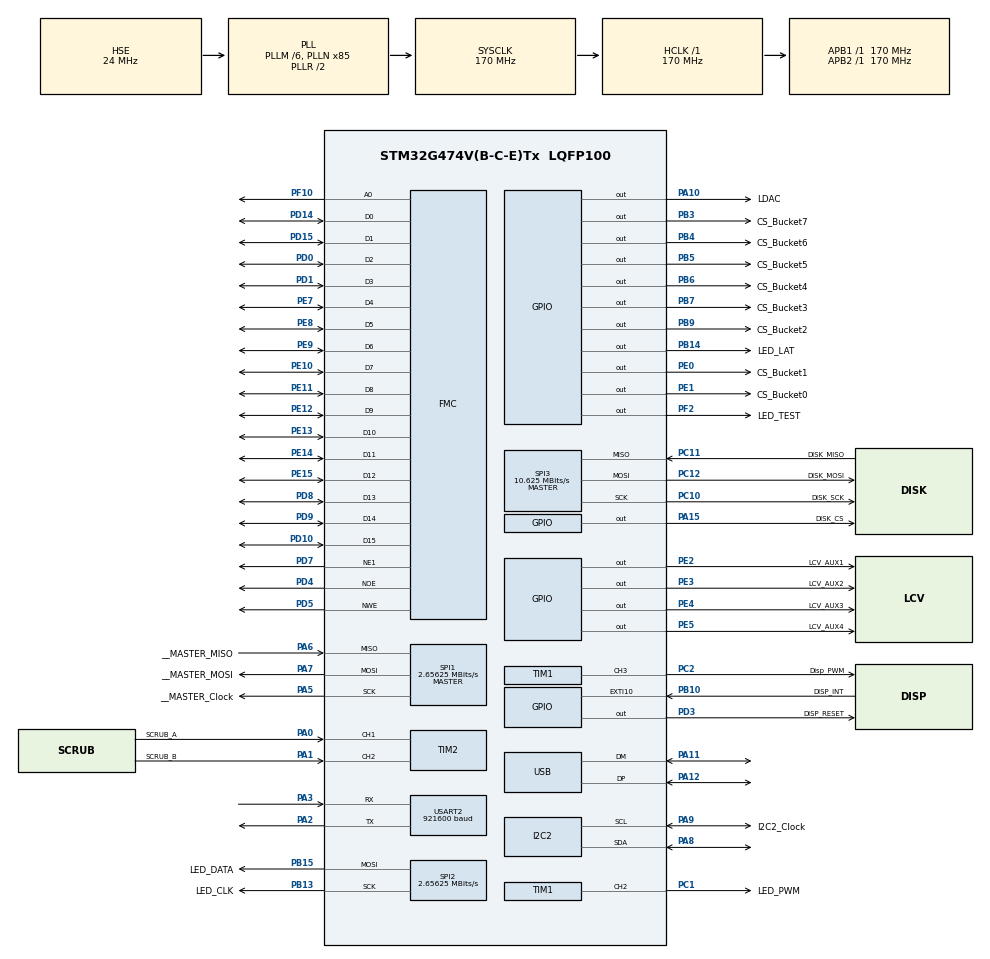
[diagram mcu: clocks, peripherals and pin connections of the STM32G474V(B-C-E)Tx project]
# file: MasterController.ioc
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Dma.Request0=SPI2_TX
Dma.SPI2_TX.0.Direction=DMA_MEMORY_TO_PERIPH
Dma.SPI2_TX.0.EventEnable=DISABLE
Dma.SPI2_TX.0.Instance=DMA1_Channel1
Dma.SPI2_TX.0.MemDataAlignment=DMA_MDATAALIGN_BYTE
Dma.SPI2_TX.0.MemInc=DMA_MINC_ENABLE
Dma.SPI2_TX.0.Mode=DMA_NORMAL
Dma.SPI2_TX.0.PeriphDataAlignment=DMA_PDATAALIGN_BYTE
Dma.SPI2_TX.0.PeriphInc=DMA_PINC_DISABLE
Dma.SPI2_TX.0.Polarity=HAL_DMAMUX_REQ_GEN_RISING
Dma.SPI2_TX.0.Priority=DMA_PRIORITY_LOW
Dma.SPI2_TX.0.RequestNumber=1
Dma.SPI2_TX.0.SignalID=NONE
Dma.SPI2_TX.0.SyncEnable=DISABLE
Dma.SPI2_TX.0.SyncPolarity=HAL_DMAMUX_SYNC_NO_EVENT
Dma.SPI2_TX.0.SyncRequestNumber=1
Dma.SPI2_TX.0.SyncSignalID=NONE
FATFS._FS_LOCK=8
FATFS._MAX_LFN=64
FATFS._USE_LFN=2
FREERTOS.Tasks01=defaultTask,24,128,StartDefaultTask,Default,NULL,Dynamic,NULL,NULL
FREERTOS.configTOTAL_HEAP_SIZE=8192
I2C2.Timing=0x40B285C2
Mcu.Family=STM32G4
Mcu.Name=STM32G474V(B-C-E)Tx
Mcu.Package=LQFP100
NVIC.DMA1_Channel1_IRQn=true\:5\:0\:false\:false\:true\:true\:false\:true\:true
NVIC.PriorityGroup=NVIC_PRIORITYGROUP_4
NVIC.SPI2_IRQn=true\:5\:0\:false\:false\:true\:true\:true\:true\:true
NVIC.TIM7_DAC_IRQn=true\:15\:0\:false\:false\:true\:false\:false\:true\:true
NVIC.TimeBase=TIM7_DAC_IRQn
NVIC.TimeBaseIP=TIM7
PA0.GPIO_Label=SCRUB_A
PA0.Signal=S_TIM2_CH1
PA1.GPIO_Label=SCRUB_B
PA1.Signal=S_TIM2_CH2
PA10.GPIO_Label=LDAC
PA10.Signal=GPIO_Output
PA11.Mode=Device
PA11.Signal=USB_DM
PA12.Mode=Device
PA12.Signal=USB_DP
PA13.GPIO_Label=SWD_SWDIO
PA13.Mode=Serial_Wire
PA13.Signal=SYS_JTMS-SWDIO
PA14.GPIO_Label=SWD_SWCLK
PA14.Mode=Serial_Wire
PA14.Signal=SYS_JTCK-SWCLK
PA15.GPIO_Label=DISK_CS
PA15.PinState=GPIO_PIN_SET
PA15.Signal=GPIO_Output
PA2.Mode=Asynchronous
PA2.Signal=USART2_TX
PA3.Mode=Asynchronous
PA3.Signal=USART2_RX
PA5.GPIO_Label=__MASTER_Clock
PA5.Mode=Full_Duplex_Master
PA5.Signal=SPI1_SCK
PA6.GPIO_Label=__MASTER_MISO
PA6.Mode=Full_Duplex_Master
PA6.Signal=SPI1_MISO
PA7.GPIO_Label=__MASTER_MOSI
PA7.Mode=Full_Duplex_Master
PA7.Signal=SPI1_MOSI
PA8.Mode=I2C
PA8.Signal=I2C2_SDA
PA9.GPIO_Label=I2C2_Clock
PA9.Mode=I2C
PA9.Signal=I2C2_SCL
PB10.GPIO_Label=DISP_INT
PB10.Signal=GPXTI10
PB13.GPIO_Label=LED_CLK
PB13.Mode=TX_Only_Simplex_Unidirect_Master
PB13.Signal=SPI2_SCK
PB14.GPIO_Label=LED_LAT
PB14.Signal=GPIO_Output
PB15.GPIO_Label=LED_DATA
PB15.Mode=TX_Only_Simplex_Unidirect_Master
PB15.Signal=SPI2_MOSI
PB3.GPIO_Label=CS_Bucket7
PB3.PinState=GPIO_PIN_SET
PB3.Signal=GPIO_Output
PB4.GPIO_Label=CS_Bucket6
PB4.PinState=GPIO_PIN_SET
PB4.Signal=GPIO_Output
PB5.GPIO_Label=CS_Bucket5
PB5.PinState=GPIO_PIN_SET
PB5.Signal=GPIO_Output
PB6.GPIO_Label=CS_Bucket4
PB6.PinState=GPIO_PIN_SET
PB6.Signal=GPIO_Output
PB7.GPIO_Label=CS_Bucket3
PB7.PinState=GPIO_PIN_SET
PB7.Signal=GPIO_Output
PB9.GPIO_Label=CS_Bucket2
PB9.PinState=GPIO_PIN_SET
PB9.Signal=GPIO_Output
PC1.GPIO_Label=LED_PWM
PC1.Signal=S_TIM1_CH2
PC10.GPIO_Label=DISK_SCK
PC10.Mode=Full_Duplex_Master
PC10.Signal=SPI3_SCK
PC11.GPIO_Label=DISK_MISO
PC11.Mode=Full_Duplex_Master
PC11.Signal=SPI3_MISO
PC12.GPIO_Label=DISK_MOSI
PC12.Mode=Full_Duplex_Master
PC12.Signal=SPI3_MOSI
PC2.GPIO_Label=Disp_PWM
PC2.Signal=S_TIM1_CH3
PD0.Mode=16b-d1
PD0.Signal=FMC_D2
PD1.Mode=16b-d1
PD1.Signal=FMC_D3
PD10.Mode=16b-d1
PD10.Signal=FMC_D15
PD14.Mode=16b-d1
PD14.Signal=FMC_D0
PD15.Mode=16b-d1
PD15.Signal=FMC_D1
PD3.GPIO_Label=DISP_RESET
PD3.GPIO_ModeDefaultOutputPP=GPIO_MODE_OUTPUT_OD
PD3.GPIO_PuPd=GPIO_NOPULL
PD3.Signal=GPIO_Output
PD4.Mode=Lcd1
PD4.Signal=FMC_NOE
PD5.Mode=Lcd1
PD5.Signal=FMC_NWE
PD6.Signal=FMC_NWAIT
PD7.Mode=NorPsramChipSelect1_1
PD7.Signal=FMC_NE1
PD8.Mode=16b-d1
PD8.Signal=FMC_D13
PD9.Mode=16b-d1
PD9.Signal=FMC_D14
PE0.GPIO_Label=CS_Bucket1
PE0.PinState=GPIO_PIN_SET
PE0.Signal=GPIO_Output
PE1.GPIO_Label=CS_Bucket0
PE1.PinState=GPIO_PIN_SET
PE1.Signal=GPIO_Output
PE10.Mode=16b-d1
PE10.Signal=FMC_D7
PE11.Mode=16b-d1
PE11.Signal=FMC_D8
PE12.Mode=16b-d1
PE12.Signal=FMC_D9
PE13.Mode=16b-d1
PE13.Signal=FMC_D10
PE14.Mode=16b-d1
PE14.Signal=FMC_D11
PE15.Mode=16b-d1
PE15.Signal=FMC_D12
PE2.GPIO_Label=LCV_AUX1
PE2.Signal=GPIO_Output
PE3.GPIO_Label=LCV_AUX2
PE3.Signal=GPIO_Output
PE4.GPIO_Label=LCV_AUX3
PE4.Signal=GPIO_Output
PE5.GPIO_Label=LCV_AUX4
PE5.Signal=GPIO_Output
PE7.Mode=16b-d1
PE7.Signal=FMC_D4
PE8.Mode=16b-d1
PE8.Signal=FMC_D5
PE9.Mode=16b-d1
PE9.Signal=FMC_D6
PF0-OSC_IN.GPIO_Label=_OSC_IN
PF0-OSC_IN.Mode=HSE-External-Oscillator
PF0-OSC_IN.Signal=RCC_OSC_IN
PF1-OSC_OUT.GPIO_Label=_OSC_OUT
PF1-OSC_OUT.Mode=HSE-External-Oscillator
PF1-OSC_OUT.Signal=RCC_OSC_OUT
PF10.Mode=A0_1
PF10.Signal=FMC_A0
PF2.GPIO_Label=LED_TEST
PF2.Signal=GPIO_Output
ProjectManager.HeapSize=0x200
ProjectManager.StackSize=0x400
ProjectManager.TargetToolchain=CMake
RCC.ADC12Freq_Value=170000000
RCC.ADC345Freq_Value=170000000
RCC.AHBFreq_Value=170000000
RCC.APB1Freq_Value=170000000
RCC.APB1TimFreq_Value=170000000
RCC.APB2Freq_Value=170000000
RCC.APB2TimFreq_Value=170000000
RCC.CK48CLockSelection=RCC_USBCLKSOURCE_HSI48
RCC.CortexFreq_Value=170000000
RCC.EXTERNAL_CLOCK_VALUE=12288000
RCC.HCLKFreq_Value=170000000
RCC.HSE_VALUE=24000000
RCC.HSI48_VALUE=48000000
RCC.HSI_VALUE=16000000
RCC.LSE_VALUE=32768
RCC.PLLM=RCC_PLLM_DIV6
RCC.PLLN=85
RCC.PLLSourceVirtual=RCC_PLLSOURCE_HSE
RCC.SYSCLKFreq_VALUE=170000000
RCC.SYSCLKSource=RCC_SYSCLKSOURCE_PLLCLK
RCC.USBFreq_Value=48000000
RCC.VCOOutputFreq_Value=340000000
SH.S_TIM1_CH2.0=TIM1_CH2,PWM Generation2 CH2
SH.S_TIM1_CH3.0=TIM1_CH3,PWM Generation3 CH3
SH.S_TIM2_CH1.0=TIM2_CH1,Encoder_Interface
SH.S_TIM2_CH2.0=TIM2_CH2,Encoder_Interface
SPI1.BaudRatePrescaler=SPI_BAUDRATEPRESCALER_64
SPI1.CalculateBaudRate=2.65625 MBits/s
SPI1.DataSize=SPI_DATASIZE_8BIT
SPI1.Direction=SPI_DIRECTION_2LINES
SPI1.Mode=SPI_MODE_MASTER
SPI1.NSSPMode=SPI_NSS_PULSE_DISABLE
SPI1.VirtualType=VM_MASTER
SPI2.BaudRatePrescaler=SPI_BAUDRATEPRESCALER_64
SPI2.CLKPhase=SPI_PHASE_2EDGE
SPI2.CalculateBaudRate=2.65625 MBits/s
SPI2.DataSize=SPI_DATASIZE_8BIT
SPI2.Direction=SPI_DIRECTION_2LINES
SPI2.Mode=SPI_MODE_MASTER
SPI2.VirtualType=VM_MASTER
SPI3.BaudRatePrescaler=SPI_BAUDRATEPRESCALER_16
SPI3.CalculateBaudRate=10.625 MBits/s
SPI3.Direction=SPI_DIRECTION_2LINES
SPI3.Mode=SPI_MODE_MASTER
SPI3.VirtualType=VM_MASTER
TIM1.Channel-PWM\ Generation2\ CH2=TIM_CHANNEL_2
TIM1.Channel-PWM\ Generation3\ CH3=TIM_CHANNEL_3
TIM1.PeriodNoDither=7083
USART2.BaudRate=921600
USART2.VirtualMode-Asynchronous=VM_ASYNC
VP_FATFS_VS_Generic.Mode=User_defined
VP_FREERTOS_VS_CMSIS_V2.Mode=CMSIS_V2
VP_RCC_VS_USB.Mode=USB_FS
VP_SYS_VS_DBSignals.Mode=DisableDeadBatterySignals
VP_SYS_VS_tim7.Mode=TIM7
board=custom

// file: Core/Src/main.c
/* USER CODE BEGIN Header */
/**
  ******************************************************************************
  * @file           : main.c
  * @brief          : Main program body
  ******************************************************************************
  * @attention
  *
  * Copyright (c) 2026 STMicroelectronics.
  * All rights reserved.
  *
  * This software is licensed under terms that can be found in the LICENSE file
  * in the root directory of this software component.
  * If no LICENSE file comes with this software, it is provided AS-IS.
  *
  ******************************************************************************
  */
/* USER CODE END Header */
#include "main.h"
#include "cmsis_os.h"
#include "app_fatfs.h"

/* USER CODE BEGIN Includes */
#include "FreeRTOS_apps/usb_device_task.h"
#include "FreeRTOS_apps/bucket_link.h"
#include "display/lt7683_display.h"
#include "mix/mix_state.h"
#include "mix/automation.h"
#include "mix/mix_file.h"
#include "FreeRTOS_apps/i2c_scheduler.h"
#include "FreeRTOS_apps/led_handler.h"
#include "control_integration/control_interface.h"
#include "control_integration/control_outputs.h"
#include "hardware_drivers/i2c_driver.h"
#include "hardware_drivers/led_driver.h"
#include "hardware_drivers/mcp23017.h"
#include "hardware_drivers/mcp4728.h"
#include "CONFIG.h"
#include <stdio.h>
#include "hardware_drivers/bucket_spi.h"
#include "FreeRTOS_apps/remote_cmd_handler.h"
#include "FreeRTOS_apps/daw_control.h"
/* USER CODE END Includes */

I2C_HandleTypeDef hi2c2;

SPI_HandleTypeDef hspi1;
SPI_HandleTypeDef hspi2;
SPI_HandleTypeDef hspi3;
DMA_HandleTypeDef hdma_spi2_tx;

TIM_HandleTypeDef htim1;
TIM_HandleTypeDef htim2;

UART_HandleTypeDef huart2;

PCD_HandleTypeDef hpcd_USB_FS;

SRAM_HandleTypeDef hsram1;

/* Definitions for defaultTask */
osThreadId_t defaultTaskHandle;
const osThreadAttr_t defaultTask_attributes = {
  .name = "defaultTask",
  .priority = (osPriority_t) osPriorityNormal,
  .stack_size = 128 * 4
};

void SystemClock_Config(void);
static void MX_GPIO_Init(void);
static void MX_DMA_Init(void);
static void MX_I2C2_Init(void);
static void MX_SPI1_Init(void);
static void MX_SPI2_Init(void);
static void MX_SPI3_Init(void);
static void MX_TIM1_Init(void);
static void MX_USB_PCD_Init(void);
static void MX_FMC_Init(void);
static void MX_USART2_UART_Init(void);
static void MX_TIM2_Init(void);
void StartDefaultTask(void *argument);

int main(void)
{

  /* MCU Configuration--------------------------------------------------------*/

  /* Reset of all peripherals, Initializes the Flash interface and the Systick. */
  HAL_Init();

  /* Configure the system clock */
  SystemClock_Config();

  /* USER CODE BEGIN SysInit */
  // The USB clock (HSI48) has to be within 0.25% of 48 MHz. SystemClock_Config() sets the
  // CRS trim to 32, but on the G4 the trim is 7 bits with its middle at 64
  // (RCC_CRS_HSI48CALIBRATION_DEFAULT, about 67 kHz per step): 32 runs HSI48 about 2.1 MHz
  // (4.5%) slow, so USB can't receive a single packet, and the CRS never gets the
  // start-of-frame packets it would use to correct it. Start from the middle instead; the
  // CRS then fine-tunes it from the computer's start-of-frame packets once USB is running.
  // (Kept here because CubeMX regenerates SystemClock_Config with 32.)
  RCC_CRSInitTypeDef crs = {0};
  crs.Prescaler             = RCC_CRS_SYNC_DIV1;
  crs.Source                = RCC_CRS_SYNC_SOURCE_USB;
  crs.Polarity              = RCC_CRS_SYNC_POLARITY_RISING;
  crs.ReloadValue           = __HAL_RCC_CRS_RELOADVALUE_CALCULATE(48000000, 1000);
  crs.ErrorLimitValue       = RCC_CRS_ERRORLIMIT_DEFAULT;
  crs.HSI48CalibrationValue = RCC_CRS_HSI48CALIBRATION_DEFAULT;
  HAL_RCCEx_CRSConfig(&crs);
  /* USER CODE END SysInit */

  /* Initialize all configured peripherals */
  MX_GPIO_Init();
  MX_DMA_Init();
  MX_I2C2_Init();
  MX_SPI1_Init();
  MX_SPI2_Init();
  MX_SPI3_Init();
  MX_TIM1_Init();
  MX_USB_PCD_Init();
  if (MX_FATFS_Init() != APP_OK) {
    Error_Handler();
  }
  MX_FMC_Init();
  MX_USART2_UART_Init();
  MX_TIM2_Init();
  /* USER CODE BEGIN 2 */

  /*=============================== CONTROLS AND LEDS (as on the bucket) ================================*/
  if (DEVELOPER_MODE)
  {
    setvbuf(stdout, NULL, _IONBF, 0); // printf goes straight out on the log UART
    printf("\r\n\n*******************************************************\r\n");
    printf("Initializing Master Controller...\r\n    Build %s %s\r\n", __DATE__, __TIME__);
  }

  i2c_init(); // I2C2 to 400 kHz, timeouts
  if (DEVELOPER_MODE) i2c_probeall();

  led_init(); // PLEASE keep led_init before init_control_interface: the controls look up their LEDs
  led_brightness(LED_BRIGHTNESS_DEFAULT);

  mcp23017_init(CONTROLS_I2C_BUS, MCP23017_KNOBS_ADDR);
  mcp23017_init(CONTROLS_I2C_BUS, MCP23017_PANEL_ADDR);
  mcp4728_init_settings(CONTROLS_I2C_BUS, MCP4728_ADDR); // internal 2.048 V reference, gain 1

  control_outputs_init(); // LCV lines to their power-up state, LDAC low
  mix_state_init();       // every channel's controls at the bucket's start-up values, until told otherwise
  automation_init();      // no moves yet; AUTO REC off
  init_control_interface();

  if (DEVELOPER_MODE)
  {
    led_print_config();
    printf("\r\n*******************************************************\n");
  }
  /*=============================== END CONTROLS AND LEDS ================================*/

  /* USER CODE END 2 */

  /* Init scheduler */
  osKernelInitialize();

  /* Create the thread(s) */
  /* creation of defaultTask */
  defaultTaskHandle = osThreadNew(StartDefaultTask, NULL, &defaultTask_attributes);

  /* USER CODE BEGIN RTOS_THREADS */
  usb_device_start();
  bucket_spi_init();
  bucket_link_start();  // a window with every bucket every few ms: channel numbers, commands, their reports
  remote_cmd_init();
  daw_control_init();
  init_i2c_scheduler(); // the panel's knobs, buttons, DAC (after init_control_interface)
  init_led_handler();   // the panel's LEDs
  mix_file_start();     // the SD card: mixes, autosave, automation's moves
  display_start();      // the mixes screen (after led_init, which sets TIM1's period: CH3 is the backlight)
  /* USER CODE END RTOS_THREADS */

  /* Start scheduler */
  osKernelStart();

  /* We should never get here as control is now taken by the scheduler */

  /* Infinite loop */
  while (1)
  {

  }
}

void SystemClock_Config(void)
{
  RCC_OscInitTypeDef RCC_OscInitStruct = {0};
  RCC_ClkInitTypeDef RCC_ClkInitStruct = {0};
  RCC_CRSInitTypeDef pInit = {0};

  /** Configure the main internal regulator output voltage
  */
  HAL_PWREx_ControlVoltageScaling(PWR_REGULATOR_VOLTAGE_SCALE1_BOOST);

  /** Initializes the RCC Oscillators according to the specified parameters
  * in the RCC_OscInitTypeDef structure.
  */
  RCC_OscInitStruct.OscillatorType = RCC_OSCILLATORTYPE_HSI48|RCC_OSCILLATORTYPE_HSE;
  RCC_OscInitStruct.HSEState = RCC_HSE_ON;
  RCC_OscInitStruct.HSI48State = RCC_HSI48_ON;
  RCC_OscInitStruct.PLL.PLLState = RCC_PLL_ON;
  RCC_OscInitStruct.PLL.PLLSource = RCC_PLLSOURCE_HSE;
  RCC_OscInitStruct.PLL.PLLM = RCC_PLLM_DIV6;
  RCC_OscInitStruct.PLL.PLLN = 85;
  RCC_OscInitStruct.PLL.PLLP = RCC_PLLP_DIV2;
  RCC_OscInitStruct.PLL.PLLQ = RCC_PLLQ_DIV2;
  RCC_OscInitStruct.PLL.PLLR = RCC_PLLR_DIV2;
  if (HAL_RCC_OscConfig(&RCC_OscInitStruct) != HAL_OK)
  {
    Error_Handler();
  }

  /** Initializes the CPU, AHB and APB buses clocks
  */
  RCC_ClkInitStruct.ClockType = RCC_CLOCKTYPE_HCLK|RCC_CLOCKTYPE_SYSCLK
                              |RCC_CLOCKTYPE_PCLK1|RCC_CLOCKTYPE_PCLK2;
  RCC_ClkInitStruct.SYSCLKSource = RCC_SYSCLKSOURCE_PLLCLK;
  RCC_ClkInitStruct.AHBCLKDivider = RCC_SYSCLK_DIV1;
  RCC_ClkInitStruct.APB1CLKDivider = RCC_HCLK_DIV1;
  RCC_ClkInitStruct.APB2CLKDivider = RCC_HCLK_DIV1;

  if (HAL_RCC_ClockConfig(&RCC_ClkInitStruct, FLASH_LATENCY_4) != HAL_OK)
  {
    Error_Handler();
  }

  /** Enable the SYSCFG APB clock
  */
  __HAL_RCC_CRS_CLK_ENABLE();

  /** Configures CRS
  */
  pInit.Prescaler = RCC_CRS_SYNC_DIV1;
  pInit.Source = RCC_CRS_SYNC_SOURCE_USB;
  pInit.Polarity = RCC_CRS_SYNC_POLARITY_RISING;
  pInit.ReloadValue = __HAL_RCC_CRS_RELOADVALUE_CALCULATE(48000000,1000);
  pInit.ErrorLimitValue = 34;
  pInit.HSI48CalibrationValue = 32;

  HAL_RCCEx_CRSConfig(&pInit);
}

static void MX_I2C2_Init(void)
{

  hi2c2.Instance = I2C2;
  hi2c2.Init.Timing = 0x40B285C2;
  hi2c2.Init.OwnAddress1 = 0;
  hi2c2.Init.AddressingMode = I2C_ADDRESSINGMODE_7BIT;
  hi2c2.Init.DualAddressMode = I2C_DUALADDRESS_DISABLE;
  hi2c2.Init.OwnAddress2 = 0;
  hi2c2.Init.OwnAddress2Masks = I2C_OA2_NOMASK;
  hi2c2.Init.GeneralCallMode = I2C_GENERALCALL_DISABLE;
  hi2c2.Init.NoStretchMode = I2C_NOSTRETCH_DISABLE;
  if (HAL_I2C_Init(&hi2c2) != HAL_OK)
  {
    Error_Handler();
  }

  /** Configure Analogue filter
  */
  if (HAL_I2CEx_ConfigAnalogFilter(&hi2c2, I2C_ANALOGFILTER_ENABLE) != HAL_OK)
  {
    Error_Handler();
  }

  /** Configure Digital filter
  */
  if (HAL_I2CEx_ConfigDigitalFilter(&hi2c2, 0) != HAL_OK)
  {
    Error_Handler();
  }

}

static void MX_SPI1_Init(void)
{

  /* SPI1 parameter configuration*/
  hspi1.Instance = SPI1;
  hspi1.Init.Mode = SPI_MODE_MASTER;
  hspi1.Init.Direction = SPI_DIRECTION_2LINES;
  hspi1.Init.DataSize = SPI_DATASIZE_8BIT;
  hspi1.Init.CLKPolarity = SPI_POLARITY_LOW;
  hspi1.Init.CLKPhase = SPI_PHASE_1EDGE;
  hspi1.Init.NSS = SPI_NSS_SOFT;
  hspi1.Init.BaudRatePrescaler = SPI_BAUDRATEPRESCALER_64;
  hspi1.Init.FirstBit = SPI_FIRSTBIT_MSB;
  hspi1.Init.TIMode = SPI_TIMODE_DISABLE;
  hspi1.Init.CRCCalculation = SPI_CRCCALCULATION_DISABLE;
  hspi1.Init.CRCPolynomial = 7;
  hspi1.Init.CRCLength = SPI_CRC_LENGTH_DATASIZE;
  hspi1.Init.NSSPMode = SPI_NSS_PULSE_DISABLE;
  if (HAL_SPI_Init(&hspi1) != HAL_OK)
  {
    Error_Handler();
  }

}

static void MX_SPI2_Init(void)
{

  /* SPI2 parameter configuration*/
  hspi2.Instance = SPI2;
  hspi2.Init.Mode = SPI_MODE_MASTER;
  hspi2.Init.Direction = SPI_DIRECTION_2LINES;
  hspi2.Init.DataSize = SPI_DATASIZE_8BIT;
  hspi2.Init.CLKPolarity = SPI_POLARITY_LOW;
  hspi2.Init.CLKPhase = SPI_PHASE_2EDGE;
  hspi2.Init.NSS = SPI_NSS_SOFT;
  hspi2.Init.BaudRatePrescaler = SPI_BAUDRATEPRESCALER_64;
  hspi2.Init.FirstBit = SPI_FIRSTBIT_MSB;
  hspi2.Init.TIMode = SPI_TIMODE_DISABLE;
  hspi2.Init.CRCCalculation = SPI_CRCCALCULATION_DISABLE;
  hspi2.Init.CRCPolynomial = 7;
  hspi2.Init.CRCLength = SPI_CRC_LENGTH_DATASIZE;
  hspi2.Init.NSSPMode = SPI_NSS_PULSE_DISABLE;
  if (HAL_SPI_Init(&hspi2) != HAL_OK)
  {
    Error_Handler();
  }

}

static void MX_SPI3_Init(void)
{

  /* SPI3 parameter configuration*/
  hspi3.Instance = SPI3;
  hspi3.Init.Mode = SPI_MODE_MASTER;
  hspi3.Init.Direction = SPI_DIRECTION_2LINES;
  hspi3.Init.DataSize = SPI_DATASIZE_4BIT;
  hspi3.Init.CLKPolarity = SPI_POLARITY_LOW;
  hspi3.Init.CLKPhase = SPI_PHASE_1EDGE;
  hspi3.Init.NSS = SPI_NSS_SOFT;
  hspi3.Init.BaudRatePrescaler = SPI_BAUDRATEPRESCALER_16;
  hspi3.Init.FirstBit = SPI_FIRSTBIT_MSB;
  hspi3.Init.TIMode = SPI_TIMODE_DISABLE;
  hspi3.Init.CRCCalculation = SPI_CRCCALCULATION_DISABLE;
  hspi3.Init.CRCPolynomial = 7;
  hspi3.Init.CRCLength = SPI_CRC_LENGTH_DATASIZE;
  hspi3.Init.NSSPMode = SPI_NSS_PULSE_ENABLE;
  if (HAL_SPI_Init(&hspi3) != HAL_OK)
  {
    Error_Handler();
  }

}

static void MX_TIM1_Init(void)
{

  TIM_MasterConfigTypeDef sMasterConfig = {0};
  TIM_OC_InitTypeDef sConfigOC = {0};
  TIM_BreakDeadTimeConfigTypeDef sBreakDeadTimeConfig = {0};

  htim1.Instance = TIM1;
  htim1.Init.Prescaler = 0;
  htim1.Init.CounterMode = TIM_COUNTERMODE_UP;
  htim1.Init.Period = 7083;
  htim1.Init.ClockDivision = TIM_CLOCKDIVISION_DIV1;
  htim1.Init.RepetitionCounter = 0;
  htim1.Init.AutoReloadPreload = TIM_AUTORELOAD_PRELOAD_DISABLE;
  if (HAL_TIM_PWM_Init(&htim1) != HAL_OK)
  {
    Error_Handler();
  }
  sMasterConfig.MasterOutputTrigger = TIM_TRGO_RESET;
  sMasterConfig.MasterOutputTrigger2 = TIM_TRGO2_RESET;
  sMasterConfig.MasterSlaveMode = TIM_MASTERSLAVEMODE_DISABLE;
  if (HAL_TIMEx_MasterConfigSynchronization(&htim1, &sMasterConfig) != HAL_OK)
  {
    Error_Handler();
  }
  sConfigOC.OCMode = TIM_OCMODE_PWM1;
  sConfigOC.Pulse = 0;
  sConfigOC.OCPolarity = TIM_OCPOLARITY_HIGH;
  sConfigOC.OCNPolarity = TIM_OCNPOLARITY_HIGH;
  sConfigOC.OCFastMode = TIM_OCFAST_DISABLE;
  sConfigOC.OCIdleState = TIM_OCIDLESTATE_RESET;
  sConfigOC.OCNIdleState = TIM_OCNIDLESTATE_RESET;
  if (HAL_TIM_PWM_ConfigChannel(&htim1, &sConfigOC, TIM_CHANNEL_2) != HAL_OK)
  {
    Error_Handler();
  }
  if (HAL_TIM_PWM_ConfigChannel(&htim1, &sConfigOC, TIM_CHANNEL_3) != HAL_OK)
  {
    Error_Handler();
  }
  sBreakDeadTimeConfig.OffStateRunMode = TIM_OSSR_DISABLE;
  sBreakDeadTimeConfig.OffStateIDLEMode = TIM_OSSI_DISABLE;
  sBreakDeadTimeConfig.LockLevel = TIM_LOCKLEVEL_OFF;
  sBreakDeadTimeConfig.DeadTime = 0;
  sBreakDeadTimeConfig.BreakState = TIM_BREAK_DISABLE;
  sBreakDeadTimeConfig.BreakPolarity = TIM_BREAKPOLARITY_HIGH;
  sBreakDeadTimeConfig.BreakFilter = 0;
  sBreakDeadTimeConfig.BreakAFMode = TIM_BREAK_AFMODE_INPUT;
  sBreakDeadTimeConfig.Break2State = TIM_BREAK2_DISABLE;
  sBreakDeadTimeConfig.Break2Polarity = TIM_BREAK2POLARITY_HIGH;
  sBreakDeadTimeConfig.Break2Filter = 0;
  sBreakDeadTimeConfig.Break2AFMode = TIM_BREAK_AFMODE_INPUT;
  sBreakDeadTimeConfig.AutomaticOutput = TIM_AUTOMATICOUTPUT_DISABLE;
  if (HAL_TIMEx_ConfigBreakDeadTime(&htim1, &sBreakDeadTimeConfig) != HAL_OK)
  {
    Error_Handler();
  }
  HAL_TIM_MspPostInit(&htim1);

}

static void MX_TIM2_Init(void)
{

  TIM_Encoder_InitTypeDef sConfig = {0};
  TIM_MasterConfigTypeDef sMasterConfig = {0};

  htim2.Instance = TIM2;
  htim2.Init.Prescaler = 0;
  htim2.Init.CounterMode = TIM_COUNTERMODE_UP;
  htim2.Init.Period = 4294967295;
  htim2.Init.ClockDivision = TIM_CLOCKDIVISION_DIV1;
  htim2.Init.AutoReloadPreload = TIM_AUTORELOAD_PRELOAD_DISABLE;
  sConfig.EncoderMode = TIM_ENCODERMODE_TI1;
  sConfig.IC1Polarity = TIM_ICPOLARITY_RISING;
  sConfig.IC1Selection = TIM_ICSELECTION_DIRECTTI;
  sConfig.IC1Prescaler = TIM_ICPSC_DIV1;
  sConfig.IC1Filter = 0;
  sConfig.IC2Polarity = TIM_ICPOLARITY_RISING;
  sConfig.IC2Selection = TIM_ICSELECTION_DIRECTTI;
  sConfig.IC2Prescaler = TIM_ICPSC_DIV1;
  sConfig.IC2Filter = 0;
  if (HAL_TIM_Encoder_Init(&htim2, &sConfig) != HAL_OK)
  {
    Error_Handler();
  }
  sMasterConfig.MasterOutputTrigger = TIM_TRGO_RESET;
  sMasterConfig.MasterSlaveMode = TIM_MASTERSLAVEMODE_DISABLE;
  if (HAL_TIMEx_MasterConfigSynchronization(&htim2, &sMasterConfig) != HAL_OK)
  {
    Error_Handler();
  }

}

static void MX_USART2_UART_Init(void)
{

  huart2.Instance = USART2;
  huart2.Init.BaudRate = 921600;
  huart2.Init.WordLength = UART_WORDLENGTH_8B;
  huart2.Init.StopBits = UART_STOPBITS_1;
  huart2.Init.Parity = UART_PARITY_NONE;
  huart2.Init.Mode = UART_MODE_TX_RX;
  huart2.Init.HwFlowCtl = UART_HWCONTROL_NONE;
  huart2.Init.OverSampling = UART_OVERSAMPLING_16;
  huart2.Init.OneBitSampling = UART_ONE_BIT_SAMPLE_DISABLE;
  huart2.Init.ClockPrescaler = UART_PRESCALER_DIV1;
  huart2.AdvancedInit.AdvFeatureInit = UART_ADVFEATURE_NO_INIT;
  if (HAL_UART_Init(&huart2) != HAL_OK)
  {
    Error_Handler();
  }
  if (HAL_UARTEx_SetTxFifoThreshold(&huart2, UART_TXFIFO_THRESHOLD_1_8) != HAL_OK)
  {
    Error_Handler();
  }
  if (HAL_UARTEx_SetRxFifoThreshold(&huart2, UART_RXFIFO_THRESHOLD_1_8) != HAL_OK)
  {
    Error_Handler();
  }
  if (HAL_UARTEx_DisableFifoMode(&huart2) != HAL_OK)
  {
    Error_Handler();
  }

}

static void MX_USB_PCD_Init(void)
{

  hpcd_USB_FS.Instance = USB;
  hpcd_USB_FS.Init.dev_endpoints = 8;
  hpcd_USB_FS.Init.speed = PCD_SPEED_FULL;
  hpcd_USB_FS.Init.phy_itface = PCD_PHY_EMBEDDED;
  hpcd_USB_FS.Init.Sof_enable = DISABLE;
  hpcd_USB_FS.Init.low_power_enable = DISABLE;
  hpcd_USB_FS.Init.lpm_enable = DISABLE;
  hpcd_USB_FS.Init.battery_charging_enable = DISABLE;
  if (HAL_PCD_Init(&hpcd_USB_FS) != HAL_OK)
  {
    Error_Handler();
  }

}

static void MX_DMA_Init(void)
{

  /* DMA controller clock enable */
  __HAL_RCC_DMAMUX1_CLK_ENABLE();
  __HAL_RCC_DMA1_CLK_ENABLE();

  /* DMA interrupt init */
  /* DMA1_Channel1_IRQn interrupt configuration */
  HAL_NVIC_SetPriority(DMA1_Channel1_IRQn, 5, 0);
  HAL_NVIC_EnableIRQ(DMA1_Channel1_IRQn);

}

/* FMC initialization function */
static void MX_FMC_Init(void)
{

  FMC_NORSRAM_TimingTypeDef Timing = {0};

  /** Perform the SRAM1 memory initialization sequence
  */
  hsram1.Instance = FMC_NORSRAM_DEVICE;
  hsram1.Extended = FMC_NORSRAM_EXTENDED_DEVICE;
  /* hsram1.Init */
  hsram1.Init.NSBank = FMC_NORSRAM_BANK1;
  hsram1.Init.DataAddressMux = FMC_DATA_ADDRESS_MUX_DISABLE;
  hsram1.Init.MemoryType = FMC_MEMORY_TYPE_SRAM;
  hsram1.Init.MemoryDataWidth = FMC_NORSRAM_MEM_BUS_WIDTH_16;
  hsram1.Init.BurstAccessMode = FMC_BURST_ACCESS_MODE_DISABLE;
  hsram1.Init.WaitSignalPolarity = FMC_WAIT_SIGNAL_POLARITY_LOW;
  hsram1.Init.WaitSignalActive = FMC_WAIT_TIMING_BEFORE_WS;
  hsram1.Init.WriteOperation = FMC_WRITE_OPERATION_ENABLE;
  hsram1.Init.WaitSignal = FMC_WAIT_SIGNAL_DISABLE;
  hsram1.Init.ExtendedMode = FMC_EXTENDED_MODE_DISABLE;
  hsram1.Init.AsynchronousWait = FMC_ASYNCHRONOUS_WAIT_DISABLE;
  hsram1.Init.WriteBurst = FMC_WRITE_BURST_DISABLE;
  hsram1.Init.ContinuousClock = FMC_CONTINUOUS_CLOCK_SYNC_ONLY;
  hsram1.Init.WriteFifo = FMC_WRITE_FIFO_ENABLE;
  hsram1.Init.NBLSetupTime = 0;
  hsram1.Init.PageSize = FMC_PAGE_SIZE_NONE;
  hsram1.Init.MaxChipSelectPulse = DISABLE;
  /* Timing */
  Timing.AddressSetupTime = 15;
  Timing.AddressHoldTime = 15;
  Timing.DataSetupTime = 255;
  Timing.DataHoldTime = 0;
  Timing.BusTurnAroundDuration = 15;
  Timing.CLKDivision = 16;
  Timing.DataLatency = 17;
  Timing.AccessMode = FMC_ACCESS_MODE_A;
  /* ExtTiming */

  if (HAL_SRAM_Init(&hsram1, &Timing, NULL) != HAL_OK)
  {
    Error_Handler( );
  }

  /* USER CODE BEGIN FMC_Init 2 */
  // The display's WAIT output on PD6 (FMC_NWAIT): the FMC holds each transfer while the LT7683
  // pulls it low. CubeMX's LCD Interface mode has no wait option, so it's set up here.
  GPIO_InitTypeDef nwait = {0};
  nwait.Pin       = GPIO_PIN_6;
  nwait.Mode      = GPIO_MODE_AF_PP;
  nwait.Pull      = GPIO_PULLUP;            // with no display attached, never wait forever
  nwait.Speed     = GPIO_SPEED_FREQ_VERY_HIGH;
  nwait.Alternate = GPIO_AF12_FMC;
  HAL_GPIO_Init(GPIOD, &nwait);

  hsram1.Init.AsynchronousWait = FMC_ASYNCHRONOUS_WAIT_ENABLE; // kept if HAL_SRAM_Init runs again
  FMC_Bank1_R->BTCR[0] |= FMC_BCRx_ASYNCWAIT;                  // bank 1 (NE1): honour NWAIT now

  /* USER CODE END FMC_Init 2 */
}

static void MX_GPIO_Init(void)
{
  GPIO_InitTypeDef GPIO_InitStruct = {0};

  /* GPIO Ports Clock Enable */
  __HAL_RCC_GPIOE_CLK_ENABLE();
  __HAL_RCC_GPIOF_CLK_ENABLE();
  __HAL_RCC_GPIOC_CLK_ENABLE();
  __HAL_RCC_GPIOA_CLK_ENABLE();
  __HAL_RCC_GPIOB_CLK_ENABLE();
  __HAL_RCC_GPIOD_CLK_ENABLE();

  /*Configure GPIO pin Output Level */
  HAL_GPIO_WritePin(GPIOE, LCV_AUX1_Pin|LCV_AUX2_Pin|LCV_AUX3_Pin|LCV_AUX4_Pin, GPIO_PIN_RESET);

  /*Configure GPIO pin Output Level */
  HAL_GPIO_WritePin(LED_TEST_GPIO_Port, LED_TEST_Pin, GPIO_PIN_RESET);

  /*Configure GPIO pin Output Level */
  HAL_GPIO_WritePin(LED_LAT_GPIO_Port, LED_LAT_Pin, GPIO_PIN_RESET);

  /*Configure GPIO pin Output Level */
  HAL_GPIO_WritePin(LDAC_GPIO_Port, LDAC_Pin, GPIO_PIN_RESET);

  /*Configure GPIO pin Output Level */
  HAL_GPIO_WritePin(DISK_CS_GPIO_Port, DISK_CS_Pin, GPIO_PIN_SET);

  /*Configure GPIO pin Output Level */
  HAL_GPIO_WritePin(DISP_RESET_GPIO_Port, DISP_RESET_Pin, GPIO_PIN_RESET);

  /*Configure GPIO pin Output Level */
  HAL_GPIO_WritePin(GPIOB, CS_Bucket7_Pin|CS_Bucket6_Pin|CS_Bucket5_Pin|CS_Bucket4_Pin
                          |CS_Bucket3_Pin|CS_Bucket2_Pin, GPIO_PIN_SET);

  /*Configure GPIO pin Output Level */
  HAL_GPIO_WritePin(GPIOE, CS_Bucket1_Pin|CS_Bucket0_Pin, GPIO_PIN_SET);

  /*Configure GPIO pins : LCV_AUX1_Pin LCV_AUX2_Pin LCV_AUX3_Pin LCV_AUX4_Pin
                           CS_Bucket1_Pin CS_Bucket0_Pin */
  GPIO_InitStruct.Pin = LCV_AUX1_Pin|LCV_AUX2_Pin|LCV_AUX3_Pin|LCV_AUX4_Pin
                          |CS_Bucket1_Pin|CS_Bucket0_Pin;
  GPIO_InitStruct.Mode = GPIO_MODE_OUTPUT_PP;
  GPIO_InitStruct.Pull = GPIO_NOPULL;
  GPIO_InitStruct.Speed = GPIO_SPEED_FREQ_LOW;
  HAL_GPIO_Init(GPIOE, &GPIO_InitStruct);

  /*Configure GPIO pin : LED_TEST_Pin */
  GPIO_InitStruct.Pin = LED_TEST_Pin;
  GPIO_InitStruct.Mode = GPIO_MODE_OUTPUT_PP;
  GPIO_InitStruct.Pull = GPIO_NOPULL;
  GPIO_InitStruct.Speed = GPIO_SPEED_FREQ_LOW;
  HAL_GPIO_Init(LED_TEST_GPIO_Port, &GPIO_InitStruct);

  /*Configure GPIO pin : DISP_INT_Pin */
  GPIO_InitStruct.Pin = DISP_INT_Pin;
  GPIO_InitStruct.Mode = GPIO_MODE_IT_RISING;
  GPIO_InitStruct.Pull = GPIO_NOPULL;
  HAL_GPIO_Init(DISP_INT_GPIO_Port, &GPIO_InitStruct);

  /*Configure GPIO pins : LED_LAT_Pin CS_Bucket7_Pin CS_Bucket6_Pin CS_Bucket5_Pin
                           CS_Bucket4_Pin CS_Bucket3_Pin CS_Bucket2_Pin */
  GPIO_InitStruct.Pin = LED_LAT_Pin|CS_Bucket7_Pin|CS_Bucket6_Pin|CS_Bucket5_Pin
                          |CS_Bucket4_Pin|CS_Bucket3_Pin|CS_Bucket2_Pin;
  GPIO_InitStruct.Mode = GPIO_MODE_OUTPUT_PP;
  GPIO_InitStruct.Pull = GPIO_NOPULL;
  GPIO_InitStruct.Speed = GPIO_SPEED_FREQ_LOW;
  HAL_GPIO_Init(GPIOB, &GPIO_InitStruct);

  /*Configure GPIO pins : LDAC_Pin DISK_CS_Pin */
  GPIO_InitStruct.Pin = LDAC_Pin|DISK_CS_Pin;
  GPIO_InitStruct.Mode = GPIO_MODE_OUTPUT_PP;
  GPIO_InitStruct.Pull = GPIO_NOPULL;
  GPIO_InitStruct.Speed = GPIO_SPEED_FREQ_LOW;
  HAL_GPIO_Init(GPIOA, &GPIO_InitStruct);

  /*Configure GPIO pin : DISP_RESET_Pin */
  GPIO_InitStruct.Pin = DISP_RESET_Pin;
  GPIO_InitStruct.Mode = GPIO_MODE_OUTPUT_OD;
  GPIO_InitStruct.Pull = GPIO_NOPULL;
  GPIO_InitStruct.Speed = GPIO_SPEED_FREQ_LOW;
  HAL_GPIO_Init(DISP_RESET_GPIO_Port, &GPIO_InitStruct);

}

void StartDefaultTask(void *argument)
{
  for(;;)
  {
    osDelay(1);
  }
}

void HAL_TIM_PeriodElapsedCallback(TIM_HandleTypeDef *htim)
{
  if (htim->Instance == TIM7)
  {
    HAL_IncTick();
  }
}

void Error_Handler(void)
{
  __disable_irq();
  while (1)
  {
  }
}
